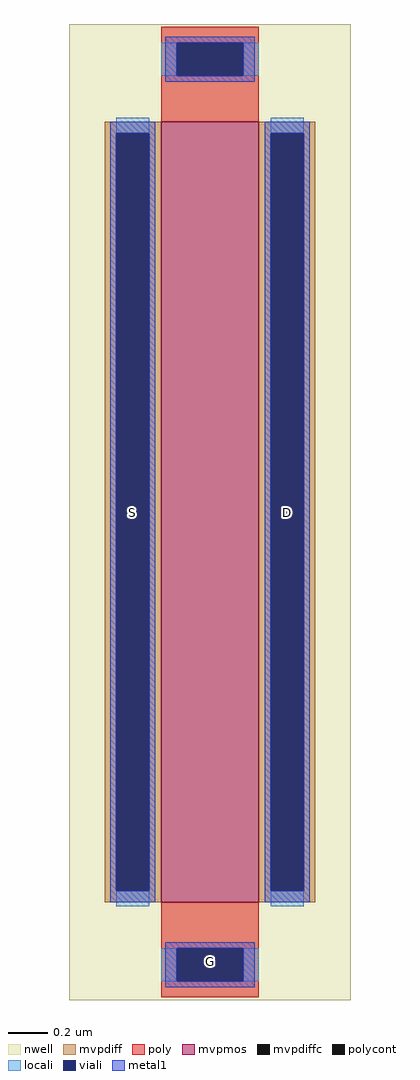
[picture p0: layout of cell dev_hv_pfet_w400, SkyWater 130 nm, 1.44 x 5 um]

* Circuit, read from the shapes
.subckt dev_hv_pfet_w400 G S D
XM1 D G S n1 sky130_fd_pr__pfet_g5v0d10v5 w=4 l=0.5
.ends

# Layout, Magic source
magic
tech sky130B
magscale 1 2
<< nwell >>
rect -144 -500 144 500
<< mvpmos >>
rect -50 -400 50 400
<< mvpdiff >>
rect -108 388 -50 400
rect -108 -388 -96 388
rect -62 -388 -50 388
rect -108 -400 -50 -388
rect 50 388 108 400
rect 50 -388 62 388
rect 96 -388 108 388
rect 50 -400 108 -388
<< mvpdiffc >>
rect -96 -388 -62 388
rect 62 -388 96 388
<< poly >>
rect -50 481 50 497
rect -50 447 -34 481
rect 34 447 50 481
rect -50 400 50 447
rect -50 -447 50 -400
rect -50 -481 -34 -447
rect 34 -481 50 -447
rect -50 -497 50 -481
<< polycont >>
rect -34 447 34 481
rect -34 -481 34 -447
<< locali >>
rect -50 447 -34 481
rect 34 447 50 481
rect -96 388 -62 404
rect -96 -404 -62 -388
rect 62 388 96 404
rect 62 -404 96 -388
rect -50 -481 -34 -447
rect 34 -481 50 -447
<< viali >>
rect -34 447 34 481
rect -96 -388 -62 388
rect 62 -388 96 388
rect -34 -481 34 -447
<< metal1 >>
rect -46 481 46 487
rect -46 447 -34 481
rect 34 447 46 481
rect -46 441 46 447
rect -102 388 -56 400
rect -102 -388 -96 388
rect -62 -388 -56 388
rect -102 -400 -56 -388
rect 56 388 102 400
rect 56 -388 62 388
rect 96 -388 102 388
rect 56 -400 102 -388
rect -46 -447 46 -441
rect -46 -481 -34 -447
rect 34 -481 46 -447
rect -46 -487 46 -481
<< labels >>
flabel metal1 s -46 -481 46 -441 0 FreeSans 16 0 0 0 G
port 0 nsew
flabel metal1 s -102 -200 -56 200 0 FreeSans 16 0 0 0 S
port 1 nsew
flabel metal1 s 56 -200 102 200 0 FreeSans 16 0 0 0 D
port 2 nsew
<< end >>
